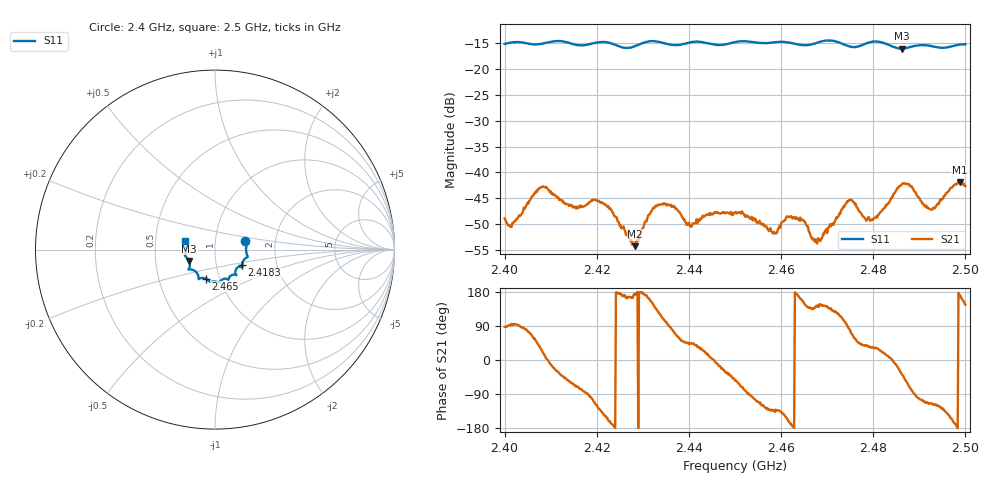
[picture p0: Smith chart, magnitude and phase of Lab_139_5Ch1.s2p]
# Hz S RI R 50
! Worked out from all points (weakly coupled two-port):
!   601 points, 2.4 GHz to 2.5 GHz, reference 50 ohm
!   highest |S21| = -41.89 dB at 2.4988 GHz (marker M1); lowest = -54.3 dB at 2.4283 GHz (marker M2)
!   lowest |S11| = -16.1 dB at 2.4862 GHz (marker M3), VSWR 1.37, Z = 37.1 - j4.81 ohm
!   |S11| at or under -10 dB: start of sweep to end of sweep
!   S12 and S22 are empty: the file has one direction only
!   S11 on the Smith chart (normalised r, x): 2.4 GHz: 1.40, +0.13; 2.4183 GHz: 1.33, -0.24; 2.465 GHz: 0.86, -0.28; 2.5 GHz: 0.71, +0.07
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2.4e9  0.1686 0.0467  0.00016 0.00358  0 0  0 0
2.401667e9  0.1767 0.0389  -0.000107 0.00322  0 0  0 0
2.408167e9  0.175 -0.0175  0.00667 0.00281  0 0  0 0
2.416667e9  0.1548 -0.0684  0.00104 -0.00463  0 0  0 0
2.418333e9  0.1501 -0.087  -0.000319 -0.00512  0 0  0 0
2.4225e9  0.1515 -0.0978  -0.00443 -0.00163  0 0  0 0
2.428333e9  0.1133 -0.1221  -0.00191 0.00027  0 0  0 0
2.433333e9  0.1175 -0.141  -0.003 0.00384  0 0  0 0
2.440167e9  0.0757 -0.1639  0.00218 0.00221  0 0  0 0
2.45e9  0.0263 -0.1802  0.00236 -0.00328  0 0  0 0
2.4585e9  -0.0205 -0.1797  -0.00179 -0.00195  0 0  0 0
2.461667e9  -0.0305 -0.1775  -0.00354 -0.00109  0 0  0 0
2.465e9  -0.0523 -0.1614  -0.00289 0.00174  0 0  0 0
2.466667e9  -0.0712 -0.1578  -0.00162 0.00167  0 0  0 0
2.468333e9  -0.0857 -0.1611  -0.0019 0.00123  0 0  0 0
2.474833e9  -0.0996 -0.1318  0.000785 0.00536  0 0  0 0
2.479e9  -0.142 -0.1109  0.00299 0.00218  0 0  0 0
2.483333e9  -0.141 -0.0968  0.00498 0.000791  0 0  0 0
2.486167e9  -0.144 -0.0631  0.00606 -0.0046  0 0  0 0
2.4925e9  -0.165 -0.0248  -0.00175 -0.004  0 0  0 0
2.498833e9  -0.1676 0.0406  -0.00794 0.00131  0 0  0 0
2.5e9  -0.1667 0.047  -0.00613 0.00411  0 0  0 0
